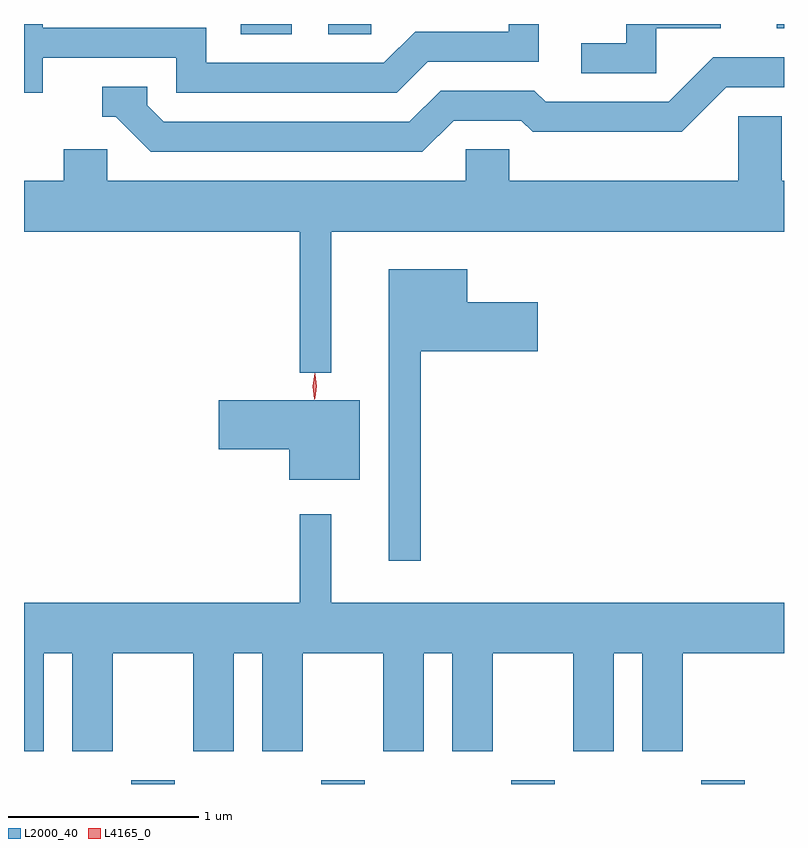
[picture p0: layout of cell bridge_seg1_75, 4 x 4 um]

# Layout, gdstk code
import gdstk
lib = gdstk.Library(unit=1e-6, precision=1e-09)
def R(c, l, rs):  # rectangles x0, y0, x1, y1
    for r in rs: c.add(gdstk.rectangle(r[:2], r[2:], *l))
def A(c, l, x, y, w, h, nx, ny, dx, dy):  # array of equal rectangles
    R(c, l, [(x+i*dx, y+j*dy, x+i*dx+w, y+j*dy+h) for i in range(nx) for j in range(ny)])
def P(c, l, *ps):  # polygons
    for p in ps: c.add(gdstk.Polygon(p, *l))
L2000_40 = (2000, 40)
L4165_0 = (4165, 0)

bridge_seg1_75 = lib.new_cell('bridge_seg1_75')
A(bridge_seg1_75, L2000_40, 1698.536, 841.169, 0.228, 0.02, 4, 1, 1, 0)
R(bridge_seg1_75, L2000_40, [(1699.113,845.116,1699.379,845.169), (1699.571,845.116,1699.799,845.169), (1701.933,845.146,1701.971,845.169)])
P(bridge_seg1_75, L2000_40, [(1701.299,845.146),(1701.639,845.146),(1701.639,845.169),(1701.141,845.169),(1701.141,845.069),(1700.903,845.069),(1700.903,844.911),(1701.299,844.911)],
  [(1698.069,844.991),(1698.771,844.991),(1698.771,844.806),(1699.932,844.806),(1700.097,844.971),(1700.679,844.971),(1700.679,845.169),(1700.521,845.169),(1700.521,845.129),(1700.029,845.129),(1699.864,844.964),(1698.929,844.964),(1698.929,845.149),(1698.069,845.149),(1698.069,845.169),(1697.971,845.169),(1697.971,844.806),(1698.069,844.806)],
  [(1700.232,844.661),(1700.589,844.661),(1700.649,844.601),(1701.432,844.601),(1701.667,844.836),(1701.971,844.836),(1701.971,844.994),(1701.599,844.994),(1701.364,844.759),(1700.717,844.759),(1700.657,844.819),(1700.164,844.819),(1699.999,844.654),(1698.707,844.654),(1698.619,844.742),(1698.619,844.839),(1698.383,844.839),(1698.383,844.681),(1698.454,844.681),(1698.639,844.496),(1700.067,844.496)],
  [(1699.589,844.076),(1701.971,844.076),(1701.971,844.344),(1701.959,844.344),(1701.959,844.684),(1701.731,844.684),(1701.731,844.344),(1700.524,844.344),(1700.524,844.509),(1700.296,844.509),(1700.296,844.344),(1698.409,844.344),(1698.409,844.509),(1698.181,844.509),(1698.181,844.344),(1697.971,844.344),(1697.971,844.076),(1699.421,844.076),(1699.421,843.333),(1699.589,843.333)],
  [(1700.059,843.446),(1700.674,843.446),(1700.674,843.704),(1700.304,843.704),(1700.304,843.879),(1699.891,843.879),(1699.891,842.343),(1700.059,842.343)],
  [(1699.739,843.189),(1698.996,843.189),(1698.996,842.931),(1699.366,842.931),(1699.366,842.771),(1699.739,842.771)],
  [(1698.074,841.856),(1698.226,841.856),(1698.226,841.341),(1698.439,841.341),(1698.439,841.856),(1698.861,841.856),(1698.861,841.341),(1699.074,841.341),(1699.074,841.856),(1699.226,841.856),(1699.226,841.341),(1699.439,841.341),(1699.439,841.856),(1699.861,841.856),(1699.861,841.341),(1700.074,841.341),(1700.074,841.856),(1700.226,841.856),(1700.226,841.341),(1700.439,841.341),(1700.439,841.856),(1700.861,841.856),(1700.861,841.341),(1701.074,841.341),(1701.074,841.856),(1701.226,841.856),(1701.226,841.341),(1701.439,841.341),(1701.439,841.856),(1701.971,841.856),(1701.971,842.124),(1699.589,842.124),(1699.589,842.588),(1699.421,842.588),(1699.421,842.124),(1697.971,842.124),(1697.971,841.341),(1698.074,841.341)])
P(bridge_seg1_75, L4165_0, [(1699.502,843.2),(1699.493,843.263),(1699.502,843.326),(1699.503,843.327),(1699.503,843.326),(1699.513,843.263),(1699.503,843.2),(1699.503,843.2)],
  [(1699.499,843.194),(1699.499,843.194),(1699.49,843.262),(1699.5,843.33),(1699.501,843.33),(1699.502,843.33),(1699.51,843.262),(1699.5,843.194)])

lib.write_gds('bridge_seg1_75.gds')
